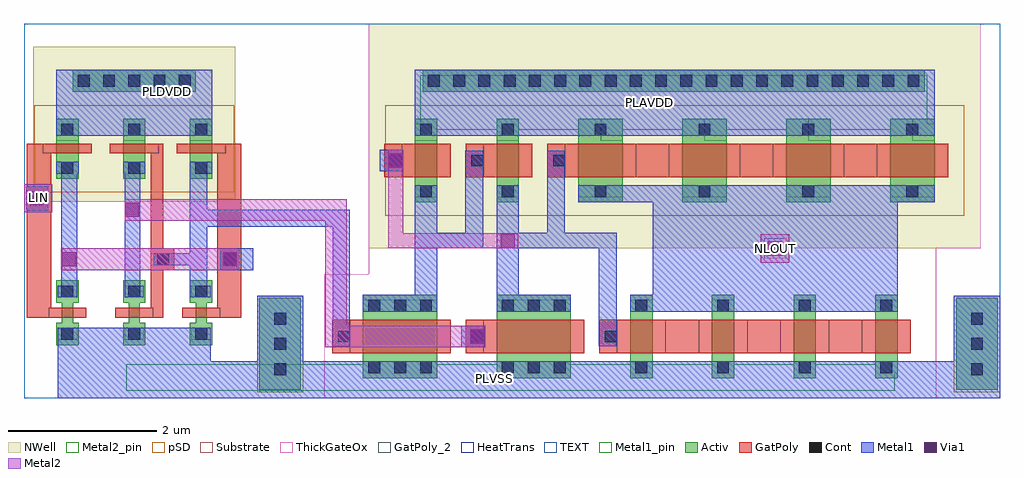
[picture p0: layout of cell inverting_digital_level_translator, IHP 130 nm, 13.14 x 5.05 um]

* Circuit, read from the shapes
.subckt inverting_digital_level_translator LIN NLOUT PLAVDD PLDVDD PLVSS
XM1 n1 LIN PLVSS PLVSS sg13_lv_nmos w=0.15u l=0.13u
XM2 n2 n3 PLVSS PLVSS sg13_lv_nmos w=0.15u l=0.13u
XM3 n3 n1 PLVSS PLVSS sg13_lv_nmos w=0.15u l=0.13u
XM4 n4 n3 PLVSS PLVSS sg13_hv_nmos w=1u l=0.45u
XM5 n5 n2 PLVSS PLVSS sg13_hv_nmos w=1u l=0.45u
XM6 NLOUT n5 PLVSS PLVSS sg13_hv_nmos w=0.3u l=0.45u m=4
XM7 PLDVDD LIN n1 PLDVDD sg13_lv_pmos w=0.3u l=0.13u
XM8 PLDVDD n3 n2 PLDVDD sg13_lv_pmos w=0.3u l=0.13u
XM9 PLDVDD n1 n3 PLDVDD sg13_lv_pmos w=0.3u l=0.13u
XM10 PLAVDD n5 n4 PLAVDD sg13_hv_pmos w=0.3u l=0.45u
XM11 PLAVDD n4 n5 PLAVDD sg13_hv_pmos w=0.3u l=0.45u
XM12 PLAVDD n5 NLOUT PLAVDD sg13_hv_pmos w=0.6u l=0.45u m=4
.ends

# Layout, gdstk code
from math import pi, radians
import gdstk
lib = gdstk.Library(unit=1e-6, precision=5e-09)
def R(c, l, rs):  # rectangles x0, y0, x1, y1
    for r in rs: c.add(gdstk.rectangle(r[:2], r[2:], *l))
def A(c, l, x, y, w, h, nx, ny, dx, dy):  # array of equal rectangles
    R(c, l, [(x+i*dx, y+j*dy, x+i*dx+w, y+j*dy+h) for i in range(nx) for j in range(ny)])
Activ = (1, 0)
GatPoly = (5, 0)
GatPoly_2 = (5, 2)
Cont = (6, 0)
Metal1 = (8, 0)
Metal1_pin = (8, 2)
Metal2 = (10, 0)
Metal2_pin = (10, 2)
pSD = (14, 0)
Via1 = (19, 0)
NWell = (31, 0)
Substrate = (40, 0)
ThickGateOx = (44, 0)
HeatTrans = (51, 0)
TEXT = (63, 0)

via_stack_6 = lib.new_cell('via_stack$6')
R(via_stack_6, Activ, [(-0.83,-0.15,0.83,0.15)])
A(via_stack_6, Cont, -0.76, -0.08, 0.16, 0.16, 5, 1, 0.34, 0)
R(via_stack_6, Metal1, [(-0.81,-0.08,0.81,0.08)])

nmoshv_1 = lib.new_cell('nmosHV$1')
R(nmoshv_1, Activ, [(0,0,0.3,0.3), (0,0,1.13,1), (0.83,0,1.13,0.3)])
R(nmoshv_1, GatPoly, [(0.34,-0.18,0.79,1.18)])
R(nmoshv_1, GatPoly_2, [(0.34,-0.18,0.79,1.18)])
A(nmoshv_1, Cont, 0.07, 0.07, 0.16, 0.16, 1, 3, 0, 0.35)
A(nmoshv_1, Cont, 0.9, 0.07, 0.16, 0.16, 1, 3, 0, 0.35)
R(nmoshv_1, Metal1, [(0.07,0,0.23,1), (0.9,0,1.06,1)])
R(nmoshv_1, Metal1_pin, [(0.07,0,0.23,1), (0.9,0,1.06,1)])
R(nmoshv_1, ThickGateOx, [(-0.27,-0.52,1.4,1.52)])
R(nmoshv_1, HeatTrans, [(0.34,-0.18,0.79,1.18)])
nmoshv_1.add(gdstk.Label('nmosHV', (0.565,0.5), layer=63, texttype=0))
nmoshv_1.add(gdstk.Label('nmosHV', (0.565,0.5), layer=51, texttype=0))

via_stack_3 = lib.new_cell('via_stack$3')
R(via_stack_3, GatPoly, [(-0.15,-0.15,0.15,0.15)])
R(via_stack_3, Cont, [(-0.08,-0.08,0.08,0.08)])
R(via_stack_3, Metal1, [(-0.145,-0.105,0.145,0.105)])
R(via_stack_3, Metal2, [(-0.145,-0.1,0.145,0.1)])
R(via_stack_3, Via1, [(-0.095,-0.095,0.095,0.095)])

pmoshv_1 = lib.new_cell('pmosHV$1')
R(pmoshv_1, Activ, [(0,0,0.3,0.3), (0,0,1.13,0.3), (0.83,0,1.13,0.3)])
R(pmoshv_1, GatPoly, [(0.34,-0.18,0.79,0.48)])
R(pmoshv_1, GatPoly_2, [(0.34,-0.18,0.79,0.48)])
R(pmoshv_1, Cont, [(0.07,0.07,0.23,0.23), (0.9,0.07,1.06,0.23)])
R(pmoshv_1, Metal1, [(0.07,0,0.23,0.3), (0.9,0,1.06,0.3)])
R(pmoshv_1, Metal1_pin, [(0.07,0,0.23,0.3), (0.9,0,1.06,0.3)])
R(pmoshv_1, pSD, [(-0.18,-0.4,1.31,0.7)])
R(pmoshv_1, NWell, [(-0.62,-0.62,1.75,0.92)])
R(pmoshv_1, Substrate, [(0.83,0,1.13,0.3)])
R(pmoshv_1, ThickGateOx, [(-0.62,-0.62,1.75,0.92)])
R(pmoshv_1, HeatTrans, [(0.34,-0.18,0.79,0.48)])
pmoshv_1.add(gdstk.Label('pmosHV', (0.565,0.15), layer=63, texttype=0))
pmoshv_1.add(gdstk.Label('pmos', (0.565,0.15), layer=51, texttype=0))

via_stack_5 = lib.new_cell('via_stack$5')
R(via_stack_5, Activ, [(-3.38,-0.15,3.38,0.15)])
A(via_stack_5, Cont, -3.31, -0.08, 0.16, 0.16, 20, 1, 0.34, 0)
R(via_stack_5, Metal1, [(-3.36,-0.08,3.36,0.08)])

pmoshv = lib.new_cell('pmosHV')
R(pmoshv, Activ, [(0,0,0.3,0.3), (0,0,1.13,0.6), (0.83,0,1.13,0.3)])
R(pmoshv, GatPoly, [(0.34,-0.18,0.79,0.78)])
R(pmoshv, GatPoly_2, [(0.34,-0.18,0.79,0.78)])
R(pmoshv, Cont, [(0.07,0.22,0.23,0.38), (0.9,0.22,1.06,0.38)])
R(pmoshv, Metal1, [(0.07,0,0.23,0.6), (0.9,0,1.06,0.6)])
R(pmoshv, Metal1_pin, [(0.07,0,0.23,0.6), (0.9,0,1.06,0.6)])
R(pmoshv, pSD, [(-0.18,-0.4,1.31,1)])
R(pmoshv, NWell, [(-0.62,-0.62,1.75,1.22)])
R(pmoshv, Substrate, [(0.83,0,1.13,0.3)])
R(pmoshv, ThickGateOx, [(-0.62,-0.62,1.75,1.22)])
R(pmoshv, HeatTrans, [(0.34,-0.18,0.79,0.78)])
pmoshv.add(gdstk.Label('pmosHV', (0.565,0.3), layer=63, texttype=0))
pmoshv.add(gdstk.Label('pmos', (0.565,0.3), layer=51, texttype=0))

nmoshv = lib.new_cell('nmosHV')
R(nmoshv, Activ, [(0,0,0.3,0.3), (0,0,1.13,0.3), (0.83,0,1.13,0.3)])
R(nmoshv, GatPoly, [(0.34,-0.18,0.79,0.48)])
R(nmoshv, GatPoly_2, [(0.34,-0.18,0.79,0.48)])
R(nmoshv, Cont, [(0.07,0.07,0.23,0.23), (0.9,0.07,1.06,0.23)])
R(nmoshv, Metal1, [(0.07,0,0.23,0.3), (0.9,0,1.06,0.3)])
R(nmoshv, Metal1_pin, [(0.07,0,0.23,0.3), (0.9,0,1.06,0.3)])
R(nmoshv, ThickGateOx, [(-0.27,-0.52,1.4,0.82)])
R(nmoshv, HeatTrans, [(0.34,-0.18,0.79,0.48)])
nmoshv.add(gdstk.Label('nmosHV', (0.565,0.15), layer=63, texttype=0))
nmoshv.add(gdstk.Label('nmosHV', (0.565,0.15), layer=51, texttype=0))

via_stack_1 = lib.new_cell('via_stack$1')
R(via_stack_1, Metal1, [(-0.145,-0.105,0.145,0.105)])
R(via_stack_1, Metal2, [(-0.145,-0.1,0.145,0.1)])
R(via_stack_1, Via1, [(-0.095,-0.095,0.095,0.095)])

via_stack_4 = lib.new_cell('via_stack$4')
R(via_stack_4, GatPoly, [(-0.15,-0.15,0.15,0.15)])
R(via_stack_4, Cont, [(-0.08,-0.08,0.08,0.08)])
R(via_stack_4, Metal1, [(-0.13,-0.08,0.13,0.08)])

nmos = lib.new_cell('nmos')
R(nmos, Activ, [(0,0,0.3,0.3), (0.57,0,0.87,0.3), (0,0.075,0.87,0.225)])
R(nmos, GatPoly, [(0.37,-0.105,0.5,0.405)])
R(nmos, GatPoly_2, [(0.37,-0.105,0.5,0.405)])
R(nmos, Cont, [(0.07,0.07,0.23,0.23), (0.64,0.07,0.8,0.23)])
R(nmos, Metal1, [(0.07,0.02,0.23,0.28), (0.64,0.02,0.8,0.28)])
R(nmos, Metal1_pin, [(0.07,0.02,0.23,0.28), (0.64,0.02,0.8,0.28)])
R(nmos, HeatTrans, [(0.37,-0.105,0.5,0.405)])
nmos.add(gdstk.Label('nmos', (0.435,0.15), layer=63, texttype=0))
nmos.add(gdstk.Label('nmos', (0.435,0.15), layer=51, texttype=0))

pmos_1 = lib.new_cell('pmos$1')
R(pmos_1, Activ, [(0,0,0.3,0.3), (0,0,0.81,0.3), (0.51,0,0.81,0.3)])
R(pmos_1, GatPoly, [(0.34,-0.18,0.47,0.48), (0.34,-0.18,0.47,0.48)])
R(pmos_1, Cont, [(0.07,0.07,0.23,0.23), (0.58,0.07,0.74,0.23)])
R(pmos_1, Metal1, [(0.07,0,0.23,0.3), (0.07,0,0.23,0.3), (0.58,0,0.74,0.3), (0.58,0,0.74,0.3)])
R(pmos_1, pSD, [(-0.18,-0.3,0.99,0.6)])
R(pmos_1, NWell, [(-0.31,-0.31,1.12,0.61)])
R(pmos_1, Substrate, [(0.51,0,0.81,0.3)])
R(pmos_1, HeatTrans, [(0.34,-0.18,0.47,0.48)])
pmos_1.add(gdstk.Label('pmos', (0.405,0.15), layer=63, texttype=0))
pmos_1.add(gdstk.Label('pmos', (0.405,0.15), layer=51, texttype=0))

via_stack = lib.new_cell('via_stack')
R(via_stack, Activ, [(-0.49,-0.15,0.49,0.15)])
A(via_stack, Cont, -0.42, -0.08, 0.16, 0.16, 3, 1, 0.34, 0)
R(via_stack, Metal1, [(-0.47,-0.08,0.47,0.08)])

inverting_digital_level_ = lib.new_cell('inverting_digital_level_translator')
R(inverting_digital_level_, Activ, [(4.03,0.825,4.59,2.065), (13.415,0.825,13.975,2.065)])
A(inverting_digital_level_, GatPoly, 5.01, 1.32, 0.235, 0.45, 3, 1, 1.8, 0)
A(inverting_digital_level_, GatPoly, 9.505, 1.32, 0.44, 0.45, 3, 1, 1.1, 0)
A(inverting_digital_level_, GatPoly, 5.71, 3.69, 0.235, 0.45, 3, 1, 1.1, 0)
A(inverting_digital_level_, GatPoly, 9.105, 3.69, 0.44, 0.45, 3, 1, 1.4, 0)
R(inverting_digital_level_, GatPoly, [(0.9,1.8,1.225,4.14), (2.565,1.8,2.735,4.14), (3.465,1.8,3.635,4.14), (3.635,1.8,3.785,2.435), (3.635,2.735,3.785,4.14)])
A(inverting_digital_level_, Metal1, 9.025, 1.88, 1.4, 0.23, 3, 1, 1.1, 0)
R(inverting_digital_level_, Metal1, [(1.315,0.71,14.005,1.21), (1.315,0.79,3.375,1.66), (4,1.21,4.62,2.095), (13.385,1.21,14.005,2.095), (6.75,1.4,7.07,1.69), (5.015,1.415,5.245,3.025), (8.6,1.415,8.845,2.73), (5.425,1.88,6.425,2.11), (7.225,1.88,8.225,2.11), (6.125,2.04,6.425,3.42), (7.225,2.04,7.525,3.42), (1.365,2.07,1.575,3.9), (2.215,2.07,2.425,3.9), (3.095,2.07,3.325,3.9), (9.325,2.11,12.625,3.35), (3.505,2.435,3.945,2.735), (2.865,2.505,3.095,2.665), (6.425,2.73,6.805,2.945), (6.805,2.73,7.045,4.045), (7.525,2.73,7.905,2.945), (7.905,2.73,8.145,4.045), (7.905,2.73,8.845,2.945), (3.325,3.025,5.245,3.255), (0.895,3.24,1.185,3.57), (8.325,3.35,10.325,3.58), (10.325,3.35,13.125,3.58), (5.65,3.77,5.97,4.06), (1.295,4.25,3.395,5.14), (6.125,4.25,13.125,5.14)])
R(inverting_digital_level_, Metal1_pin, [(2.24,0.815,12.59,1.17), (1.295,4.25,3.395,5.14), (6.195,4.33,13.025,5.06)])
R(inverting_digital_level_, Metal2, [(10.785,2.54,11.165,2.92), (0.86,3.215,1.24,3.595)])
R(inverting_digital_level_, Metal2_pin, [(10.83,2.6,11.125,2.865), (0.935,3.3,1.165,3.51)])
R(inverting_digital_level_, pSD, [(4,0.795,4.62,2.095), (13.385,0.795,14.005,2.095)])
R(inverting_digital_level_, NWell, [(0.985,4.79,3.705,5.45), (1.885,4.79,3.705,5.45), (5.505,5.1,13.745,5.76)])
R(inverting_digital_level_, ThickGateOx, [(5.505,2.38,10.945,2.73), (10.945,2.38,13.145,2.73), (5.505,5.1,13.745,5.76)])
R(inverting_digital_level_, TEXT, [(0.86,0.71,14.005,5.76)])
inverting_digital_level_.add(gdstk.FlexPath([(1.57,2.585),(3.535,2.585),(3.535,2.585)], 0.29, ends="flush", simple_path=True, layer=10, datatype=0))  # Metal2
inverting_digital_level_.add(gdstk.FlexPath([(7.23,2.835),(5.865,2.835),(5.865,3.77)], 0.2, ends="flush", simple_path=True, layer=10, datatype=0))  # Metal2
inverting_digital_level_.add(gdstk.FlexPath([(2.42,3.25),(5.06,3.25),(5.06,2.13)], 0.29, ends="flush", simple_path=True, layer=10, datatype=0))  # Metal2
inverting_digital_level_.add(gdstk.FlexPath([(6.865,1.545),(5.06,1.545),(5.06,2.13)], 0.29, ends="flush", simple_path=True, layer=10, datatype=0))  # Metal2
inverting_digital_level_.add(gdstk.Reference(via_stack_6, (2.345,4.99), rotation=pi))
inverting_digital_level_.add(gdstk.Reference(nmoshv_1, (6.425,0.98), rotation=pi/2))
inverting_digital_level_.add(gdstk.Reference(via_stack_3, (6.965,1.545), rotation=pi/2))
inverting_digital_level_.add(gdstk.Reference(pmoshv_1, (6.425,3.35), rotation=pi/2))
inverting_digital_level_.add(gdstk.Reference(via_stack_3, (1.04,3.405)))
inverting_digital_level_.add(gdstk.Reference(nmoshv_1, (8.225,0.98), rotation=pi/2))
inverting_digital_level_.add(gdstk.Reference(pmoshv_1, (7.525,3.35), rotation=pi/2))
inverting_digital_level_.add(gdstk.Reference(via_stack_5, (9.61,4.99), rotation=pi))
inverting_digital_level_.add(gdstk.Reference(pmoshv, (8.925,3.35), rotation=pi/2))
inverting_digital_level_.add(gdstk.Reference(pmoshv, (10.325,3.35), rotation=pi/2))
inverting_digital_level_.add(gdstk.Reference(nmoshv, (9.325,0.98), rotation=pi/2))
inverting_digital_level_.add(gdstk.Reference(nmoshv, (10.425,0.98), rotation=pi/2))
inverting_digital_level_.add(gdstk.Reference(via_stack_1, (10.975,2.73), rotation=pi))
inverting_digital_level_.add(gdstk.Reference(via_stack_4, (8.065,3.915), rotation=pi/2))
inverting_digital_level_.add(gdstk.Reference(via_stack_4, (6.965,3.915), rotation=pi/2))
inverting_digital_level_.add(gdstk.Reference(via_stack_3, (5.865,3.915), rotation=pi/2))
inverting_digital_level_.add(gdstk.Reference(via_stack_1, (7.375,2.835), rotation=pi))
inverting_digital_level_.add(gdstk.Reference(via_stack_4, (2.735,2.585), rotation=pi))
inverting_digital_level_.add(gdstk.Reference(via_stack_4, (8.765,1.545), rotation=pi/2))
inverting_digital_level_.add(gdstk.Reference(via_stack_4, (5.165,1.545), rotation=pi/2))
inverting_digital_level_.add(gdstk.Reference(via_stack_1, (2.32,3.25), rotation=pi/2))
inverting_digital_level_.add(gdstk.Reference(nmos, (2.495,1.43), rotation=pi/2))
inverting_digital_level_.add(gdstk.Reference(pmos_1, (2.495,3.67), rotation=pi/2))
inverting_digital_level_.add(gdstk.Reference(pmos_1, (3.395,3.67), rotation=pi/2))
inverting_digital_level_.add(gdstk.Reference(nmos, (3.395,1.43), rotation=pi/2))
inverting_digital_level_.add(gdstk.Reference(nmoshv, (12.625,0.98), rotation=pi/2))
inverting_digital_level_.add(gdstk.Reference(nmoshv, (11.525,0.98), rotation=pi/2))
inverting_digital_level_.add(gdstk.Reference(pmoshv, (13.125,3.35), rotation=pi/2))
inverting_digital_level_.add(gdstk.Reference(pmoshv, (11.725,3.35), rotation=pi/2))
inverting_digital_level_.add(gdstk.Reference(via_stack, (4.31,1.445), rotation=pi/2))
inverting_digital_level_.add(gdstk.Reference(via_stack, (13.695,1.445), rotation=pi/2))
inverting_digital_level_.add(gdstk.Reference(via_stack_3, (3.635,2.585), rotation=pi/2))
inverting_digital_level_.add(gdstk.Reference(via_stack_1, (1.47,2.585), rotation=pi/2))
inverting_digital_level_.add(gdstk.Reference(nmos, (1.595,1.43), rotation=pi/2))
inverting_digital_level_.add(gdstk.Reference(pmos_1, (1.595,3.67), rotation=pi/2))
inverting_digital_level_.add(gdstk.Label('LIN', (1.055,3.415), layer=10, texttype=25))
inverting_digital_level_.add(gdstk.Label('NLOUT', (10.975,2.73), layer=10, texttype=25))
inverting_digital_level_.add(gdstk.Label('PLAVDD', (9.29,4.695), layer=8, texttype=25))
inverting_digital_level_.add(gdstk.Label('PLVSS', (7.2,0.98), layer=8, texttype=25))
inverting_digital_level_.add(gdstk.Label('PLDVDD', (2.795,4.84), layer=8, texttype=25))

lib.write_gds('inverting_digital_level_translator.gds')
